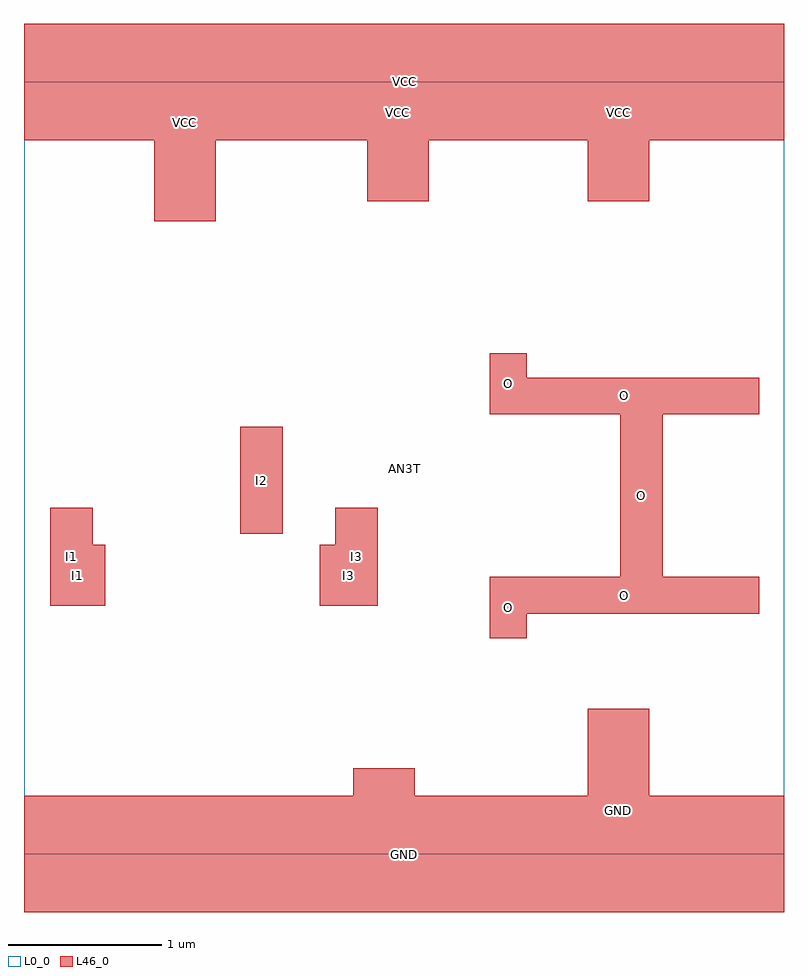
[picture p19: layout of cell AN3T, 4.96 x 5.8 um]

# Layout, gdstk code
import gdstk
lib = gdstk.Library(unit=1e-6, precision=1e-09)
def R(c, l, rs):  # rectangles x0, y0, x1, y1
    for r in rs: c.add(gdstk.rectangle(r[:2], r[2:], *l))
L0_0 = (0, 0)
L46_0 = (46, 0)

an3t = lib.new_cell('AN3T')
R(an3t, L0_0, [(0,0,4.96,5.04)])
R(an3t, L46_0, [(0,-0.38,4.96,0.38), (2.15,-0.38,2.55,0.56), (3.68,-0.38,4.08,0.95), (3.04,1.41,3.28,1.81), (3.04,1.57,4.8,1.81), (3.89,1.57,4.17,3.11), (0.17,1.62,0.53,2.02), (0.17,1.62,0.45,2.26), (1.93,1.62,2.31,2.02), (2.03,1.62,2.31,2.26), (1.41,2.09,1.69,2.79), (3.04,2.87,3.28,3.27), (3.04,2.87,4.8,3.11), (0.85,4.13,1.25,5.42), (2.24,4.26,2.64,5.42), (3.68,4.26,4.08,5.42), (0,4.66,4.96,5.42)])
an3t.add(gdstk.Label('AN3T', (2.48,2.52), layer=0, texttype=0))
an3t.add(gdstk.Label('O', (3.16,3.07), layer=101, texttype=0))
an3t.add(gdstk.Label('O', (4.03,2.34), layer=101, texttype=0))
an3t.add(gdstk.Label('O', (3.92,1.69), layer=101, texttype=0))
an3t.add(gdstk.Label('O', (3.92,2.99), layer=101, texttype=0))
an3t.add(gdstk.Label('O', (3.16,1.61), layer=101, texttype=0))
an3t.add(gdstk.Label('I2', (1.55,2.44), layer=101, texttype=0))
an3t.add(gdstk.Label('I1', (0.35,1.82), layer=101, texttype=0))
an3t.add(gdstk.Label('I1', (0.31,1.94), layer=101, texttype=0))
an3t.add(gdstk.Label('I3', (2.17,1.94), layer=101, texttype=0))
an3t.add(gdstk.Label('I3', (2.12,1.82), layer=101, texttype=0))
an3t.add(gdstk.Label('GND', (3.88,0.285), layer=101, texttype=0))
an3t.add(gdstk.Label('GND', (2.48,0), layer=101, texttype=0))
an3t.add(gdstk.Label('GND', (2.35,0.09), layer=101, texttype=0))
an3t.add(gdstk.Label('VCC', (2.44,4.84), layer=101, texttype=0))
an3t.add(gdstk.Label('VCC', (3.88,4.84), layer=101, texttype=0))
an3t.add(gdstk.Label('VCC', (2.48,5.04), layer=101, texttype=0))
an3t.add(gdstk.Label('VCC', (1.05,4.775), layer=101, texttype=0))

lib.write_gds('AN3T.gds')
